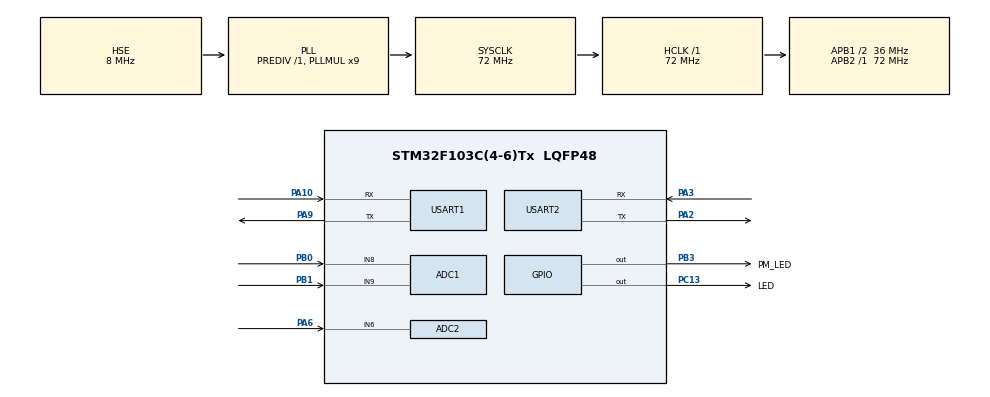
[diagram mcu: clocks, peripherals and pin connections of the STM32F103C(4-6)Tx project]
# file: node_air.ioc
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ADC1.Channel-3\#ChannelRegularConversion=ADC_CHANNEL_8
ADC1.Channel-4\#ChannelRegularConversion=ADC_CHANNEL_9
ADC1.ContinuousConvMode=DISABLE
ADC1.DiscontinuousConvMode=ENABLE
ADC1.ExternalTrigConv=ADC_SOFTWARE_START
ADC1.NbrOfConversion=2
ADC1.NbrOfConversionFlag=1
ADC1.Rank-3\#ChannelRegularConversion=1
ADC1.Rank-4\#ChannelRegularConversion=2
ADC1.SamplingTime-3\#ChannelRegularConversion=ADC_SAMPLETIME_7CYCLES_5
ADC1.SamplingTime-4\#ChannelRegularConversion=ADC_SAMPLETIME_7CYCLES_5
ADC1.master=1
ADC2.Channel-4\#ChannelRegularConversion=ADC_CHANNEL_6
ADC2.NbrOfConversionFlag=1
ADC2.Rank-4\#ChannelRegularConversion=1
ADC2.SamplingTime-4\#ChannelRegularConversion=ADC_SAMPLETIME_1CYCLE_5
Mcu.Family=STM32F1
Mcu.Name=STM32F103C(4-6)Tx
Mcu.Package=LQFP48
NVIC.PriorityGroup=NVIC_PRIORITYGROUP_4
NVIC.USART2_IRQn=true\:0\:0\:false\:false\:true\:true\:true
PA10.Mode=Asynchronous
PA10.Signal=USART1_RX
PA13.Mode=Serial_Wire
PA13.Signal=SYS_JTMS-SWDIO
PA14.Mode=Serial_Wire
PA14.Signal=SYS_JTCK-SWCLK
PA2.Mode=Asynchronous
PA2.Signal=USART2_TX
PA3.Mode=Asynchronous
PA3.Signal=USART2_RX
PA6.Signal=ADCx_IN6
PA9.Mode=Asynchronous
PA9.Signal=USART1_TX
PB0.Signal=ADCx_IN8
PB1.Signal=ADCx_IN9
PB3.GPIO_Label=PM_LED
PB3.GPIO_Speed=GPIO_SPEED_FREQ_HIGH
PB3.Signal=GPIO_Output
PC13-TAMPER-RTC.GPIO_Label=LED
PC13-TAMPER-RTC.GPIO_Speed=GPIO_SPEED_FREQ_MEDIUM
PC13-TAMPER-RTC.PinState=GPIO_PIN_RESET
PC13-TAMPER-RTC.Signal=GPIO_Output
PC14-OSC32_IN.Mode=LSE-External-Oscillator
PC14-OSC32_IN.Signal=RCC_OSC32_IN
PC15-OSC32_OUT.Mode=LSE-External-Oscillator
PC15-OSC32_OUT.Signal=RCC_OSC32_OUT
PD0-OSC_IN.Mode=HSE-External-Oscillator
PD0-OSC_IN.Signal=RCC_OSC_IN
PD1-OSC_OUT.Mode=HSE-External-Oscillator
PD1-OSC_OUT.Signal=RCC_OSC_OUT
ProjectManager.HeapSize=0x200
ProjectManager.StackSize=0x400
ProjectManager.TargetToolchain=MDK-ARM V5.32
RCC.ADCPresc=RCC_ADCPCLK2_DIV6
RCC.AHBFreq_Value=72000000
RCC.APB1CLKDivider=RCC_HCLK_DIV2
RCC.APB1Freq_Value=36000000
RCC.APB1TimFreq_Value=72000000
RCC.APB2Freq_Value=72000000
RCC.APB2TimFreq_Value=72000000
RCC.HCLKFreq_Value=72000000
RCC.PLLMUL=RCC_PLL_MUL9
RCC.PLLSourceVirtual=RCC_PLLSOURCE_HSE
RCC.SYSCLKFreq_VALUE=72000000
RCC.SYSCLKSource=RCC_SYSCLKSOURCE_PLLCLK
RCC.USBFreq_Value=72000000
SH.ADCx_IN6.0=ADC2_IN6,IN6
SH.ADCx_IN8.0=ADC1_IN8,IN8
SH.ADCx_IN9.0=ADC1_IN9,IN9
TIM2.Prescaler=72-1
USART1.VirtualMode=VM_ASYNC
USART2.VirtualMode=VM_ASYNC
VP_TIM2_VS_ClockSourceINT.Mode=Internal
board=custom

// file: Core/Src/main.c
/* USER CODE BEGIN Header */
/**
  ******************************************************************************
  * @file           : main.c
  * @brief          : Main program body
  ******************************************************************************
  * @attention
  *
  * Copyright (c) 2022 STMicroelectronics.
  * All rights reserved.
  *
  * This software is licensed under terms that can be found in the LICENSE file
  * in the root directory of this software component.
  * If no LICENSE file comes with this software, it is provided AS-IS.
  *
  ******************************************************************************
  */
/* USER CODE END Header */
#include "main.h"
#include "adc.h"
#include "tim.h"
#include "usart.h"
#include "gpio.h"

/* USER CODE BEGIN Includes */
#include "bsp_led.h"
#include "bsp_uart.h"
#include "bsp_timer.h"
#include "pm25.h"
#include "esp8266.h"
#include "mqtt.h"
/* USER CODE END Includes */

void SystemClock_Config(void);

int main(void)
{
  /* USER CODE BEGIN 1 */
	uint32_t counter = 0 ;

  /* USER CODE END 1 */

  /* MCU Configuration--------------------------------------------------------*/

  /* Reset of all peripherals, Initializes the Flash interface and the Systick. */
  HAL_Init();

  /* Configure the system clock */
  SystemClock_Config();

  /* Initialize all configured peripherals */
  MX_GPIO_Init();
  MX_USART1_UART_Init();
  MX_ADC1_Init();
  MX_TIM2_Init();
  MX_ADC2_Init();
  MX_USART2_UART_Init();
  /* USER CODE BEGIN 2 */

  //开启接收中断
  HAL_UART_Receive_IT(&huart2, Rx_Once, 1);

  ESP01S_CONNECT();
  MQTT_CONNECTING();
  /* USER CODE END 2 */

  /* Infinite loop */
  /* USER CODE BEGIN WHILE */
  while (1)
  {
    counter++; if(counter == 1000) counter = 0;
    //5s发送一个心跳
    if(counter % 50 == 0)
    {
      MQTT_SentHeart();
    }

    if(counter % 10 == 0)
    {

    }

    if(counter % 5 == 0)
    {
      L_TOOGLE;
    }

    if(counter % 10 == 0)
    {
      showMQX(AdcGetVal());
      GetGP2Y();
    }

	  HAL_Delay(100);

    /* USER CODE END WHILE */

  }
}

void SystemClock_Config(void)
{
  RCC_OscInitTypeDef RCC_OscInitStruct = {0};
  RCC_ClkInitTypeDef RCC_ClkInitStruct = {0};
  RCC_PeriphCLKInitTypeDef PeriphClkInit = {0};

  /** Initializes the RCC Oscillators according to the specified parameters
  * in the RCC_OscInitTypeDef structure.
  */
  RCC_OscInitStruct.OscillatorType = RCC_OSCILLATORTYPE_HSE;
  RCC_OscInitStruct.HSEState = RCC_HSE_ON;
  RCC_OscInitStruct.HSEPredivValue = RCC_HSE_PREDIV_DIV1;
  RCC_OscInitStruct.HSIState = RCC_HSI_ON;
  RCC_OscInitStruct.PLL.PLLState = RCC_PLL_ON;
  RCC_OscInitStruct.PLL.PLLSource = RCC_PLLSOURCE_HSE;
  RCC_OscInitStruct.PLL.PLLMUL = RCC_PLL_MUL9;
  if (HAL_RCC_OscConfig(&RCC_OscInitStruct) != HAL_OK)
  {
    Error_Handler();
  }
  /** Initializes the CPU, AHB and APB buses clocks
  */
  RCC_ClkInitStruct.ClockType = RCC_CLOCKTYPE_HCLK|RCC_CLOCKTYPE_SYSCLK
                              |RCC_CLOCKTYPE_PCLK1|RCC_CLOCKTYPE_PCLK2;
  RCC_ClkInitStruct.SYSCLKSource = RCC_SYSCLKSOURCE_PLLCLK;
  RCC_ClkInitStruct.AHBCLKDivider = RCC_SYSCLK_DIV1;
  RCC_ClkInitStruct.APB1CLKDivider = RCC_HCLK_DIV2;
  RCC_ClkInitStruct.APB2CLKDivider = RCC_HCLK_DIV1;

  if (HAL_RCC_ClockConfig(&RCC_ClkInitStruct, FLASH_LATENCY_2) != HAL_OK)
  {
    Error_Handler();
  }
  PeriphClkInit.PeriphClockSelection = RCC_PERIPHCLK_ADC;
  PeriphClkInit.AdcClockSelection = RCC_ADCPCLK2_DIV6;
  if (HAL_RCCEx_PeriphCLKConfig(&PeriphClkInit) != HAL_OK)
  {
    Error_Handler();
  }
}

void Error_Handler(void)
{
  __disable_irq();
  while (1)
  {
  }
}
